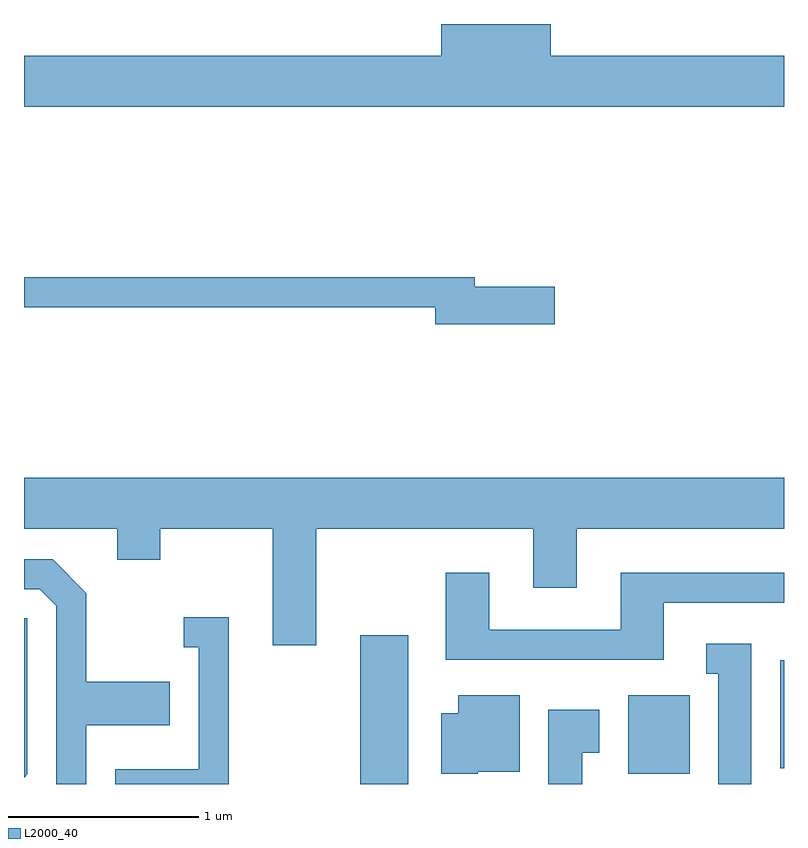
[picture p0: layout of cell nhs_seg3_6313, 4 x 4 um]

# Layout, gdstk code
import gdstk
lib = gdstk.Library(unit=1e-6, precision=1e-09)
def R(c, l, rs):  # rectangles x0, y0, x1, y1
    for r in rs: c.add(gdstk.rectangle(r[:2], r[2:], *l))
def P(c, l, *ps):  # polygons
    for p in ps: c.add(gdstk.Polygon(p, *l))
L2000_40 = (2000, 40)

nhs_seg3_6313 = lib.new_cell('nhs_seg3_6313')
R(nhs_seg3_6313, L2000_40, [(371.381,1237.892,371.634,1238.674), (372.791,1237.946,373.114,1238.359), (373.591,1237.976,373.611,1238.544)])
P(nhs_seg3_6313, L2000_40, [(373.611,1241.724),(372.384,1241.724),(372.384,1241.892),(371.806,1241.892),(371.806,1241.724),(369.611,1241.724),(369.611,1241.456),(373.611,1241.456)],
  [(372.404,1240.509),(371.984,1240.509),(371.984,1240.559),(369.611,1240.559),(369.611,1240.401),(371.776,1240.401),(371.776,1240.311),(372.404,1240.311)],
  [(371.149,1239.236),(372.291,1239.236),(372.291,1238.926),(372.519,1238.926),(372.519,1239.236),(373.611,1239.236),(373.611,1239.504),(369.611,1239.504),(369.611,1239.236),(370.101,1239.236),(370.101,1239.071),(370.329,1239.071),(370.329,1239.236),(370.921,1239.236),(370.921,1238.621),(371.149,1238.621)],
  [(369.939,1238.201),(370.379,1238.201),(370.379,1238.429),(369.939,1238.429),(369.939,1238.897),(369.762,1239.074),(369.611,1239.074),(369.611,1238.916),(369.694,1238.916),(369.781,1238.829),(369.781,1237.892),(369.939,1237.892)],
  [(372.979,1238.846),(373.611,1238.846),(373.611,1239.004),(372.751,1239.004),(372.751,1238.704),(372.059,1238.704),(372.059,1239.004),(371.831,1239.004),(371.831,1238.546),(372.979,1238.546)],
  [(370.689,1238.769),(370.453,1238.769),(370.453,1238.611),(370.531,1238.611),(370.531,1237.969),(370.091,1237.969),(370.091,1237.892),(370.689,1237.892)],
  [(369.629,1237.944),(369.629,1238.764),(369.611,1238.764),(369.611,1237.926)],
  [(373.439,1238.629),(373.203,1238.629),(373.203,1238.471),(373.266,1238.471),(373.266,1237.892),(373.439,1237.892)],
  [(372,1237.956),(372.219,1237.956),(372.219,1238.359),(371.896,1238.359),(371.896,1238.264),(371.806,1238.264),(371.806,1237.946),(372,1237.946)],
  [(372.549,1238.056),(372.639,1238.056),(372.639,1238.284),(372.371,1238.284),(372.371,1237.892),(372.549,1237.892)])

lib.write_gds('nhs_seg3_6313.gds')
